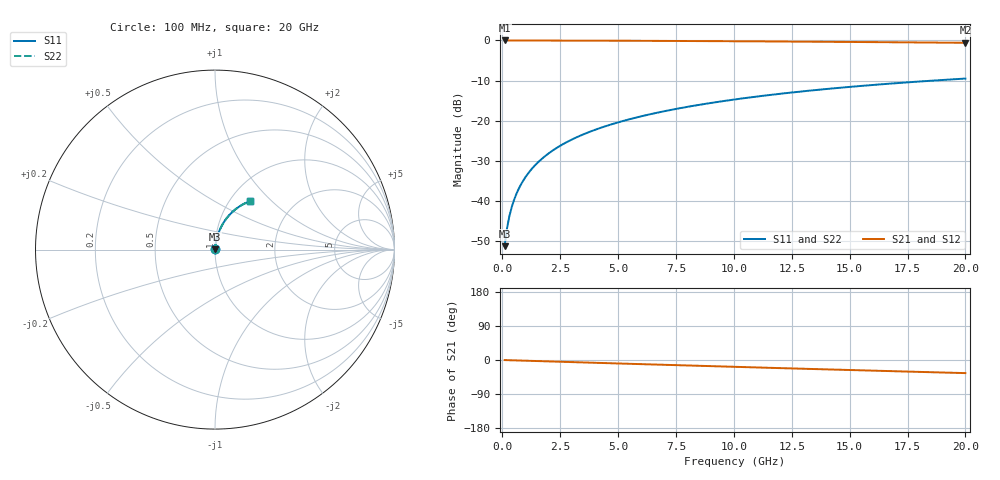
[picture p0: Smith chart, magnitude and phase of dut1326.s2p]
! Touchstone file exported from HFSS 2026.1.0
!  File:  C:/ffzhzh/LocalFiles/Ansys_Project_Files/temp_train_TMRDL_1326_1783165111_51560.aedt
!  Generated:  07:39:50 PM Jul  4, 2026
!  Design:  TMRDL
!  Project:  temp_train_TMRDL_1326_1783165111_51560
! Variables:
!  h_bsmrdl = 2um
!  h_ox = 20um
!  h_rdl = 5um
!  h_sub = 80um
!  h_tmrdl = 5.36um
!  h_tsv = 80um
!  h_via = 3um
!  l_bsmrdl = 300um
!  l_sub = 887.88um
!  l_tmrdl = 487.88um
!  m_sub = 200um
!  pitch = 48.98um
!  r_tsv = 6um
!  s_tmrdl = 10um
!  w_bsmrdl = 18um
!  w_sub = 500um
!  w_tmrdl = 19.58um
!  x_tsv_center1 = 497.67um
!  x_tsv_center2 = 815.67um
!  x_tsv_center3 = 1323.13um
!  x_tsv_center4 = 1641.13um
!  x_tsv_center5 = 2148.59um
!  x_tsv_center6 = 2466.59um
# GHz S MA R 50.000000
! Terminal data exported
! Port[1] = TM_RDL1_1_T1
! Port[2] = TM_RDL1_1_T2
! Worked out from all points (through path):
!   200 points, 100 MHz to 20 GHz, reference 50 ohm
!   highest |S21| = -0.02 dB at 100 MHz (marker M1); lowest = -0.6 dB at 20 GHz (marker M2)
!   group delay of S21, straight-line fit = 4.8 ps
!   lowest |S11| = -51.2 dB at 100 MHz (marker M3), VSWR 1.01, Z = 50.2 + j0.21 ohm
!   |S11| at or under -10 dB: start of sweep to 18.61 GHz
!   |S22| runs from -51.2 to -9.5 dB; largest |S21 - S12| = 3.4e-15
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0.1  0.002754 49.5  0.9982 -0.2  0.9982 -0.2  0.002754 49.5
! Gamma 0 0 0 0
! Port Impedance 50 0 50 0
0.2  0.004528 65.1  0.9981 -0.4  0.9981 -0.4  0.004528 65.1
0.3  0.006396 71.6  0.998 -0.6  0.998 -0.6  0.006396 71.6
0.4  0.008292 75.2  0.998 -0.8  0.998 -0.8  0.008292 75.2
0.5  0.01021 77.4  0.9979 -0.9  0.9979 -0.9  0.01021 77.4
0.7  0.01407 80.0  0.9978 -1.3  0.9978 -1.3  0.01407 80.0
0.8  0.016 80.7  0.9977 -1.5  0.9977 -1.5  0.016 80.7
1  0.01989 81.6  0.9976 -1.9  0.9976 -1.9  0.01989 81.7
1.2  0.02378 82.1  0.9974 -2.2  0.9974 -2.2  0.02378 82.1
1.4  0.02767 82.4  0.9972 -2.6  0.9972 -2.6  0.02767 82.4
1.7  0.03348 82.4  0.9969 -3.2  0.9969 -3.2  0.03348 82.4
2  0.03927 82.3  0.9965 -3.7  0.9965 -3.7  0.03927 82.3
2.7  0.05266 81.5  0.9954 -5.0  0.9954 -5.0  0.05266 81.5
3.5  0.06776 80.4  0.994 -6.5  0.994 -6.5  0.06776 80.4
4.2  0.0808 79.3  0.9926 -7.7  0.9926 -7.7  0.0808 79.3
5  0.09551 78.1  0.9908 -9.2  0.9908 -9.2  0.09551 78.1
6.8  0.128 75.1  0.9863 -12.4  0.9863 -12.4  0.128 75.2
8.3  0.1544 72.7  0.9819 -15.0  0.9819 -15.0  0.1544 72.7
10.1  0.1852 69.8  0.976 -18.2  0.976 -18.2  0.1852 69.8
13.4  0.2391 64.4  0.9634 -23.8  0.9634 -23.8  0.2391 64.4
16.7  0.2892 59.1  0.949 -29.3  0.949 -29.3  0.2892 59.1
20  0.335 53.9  0.9334 -34.6  0.9334 -34.6  0.335 53.9
